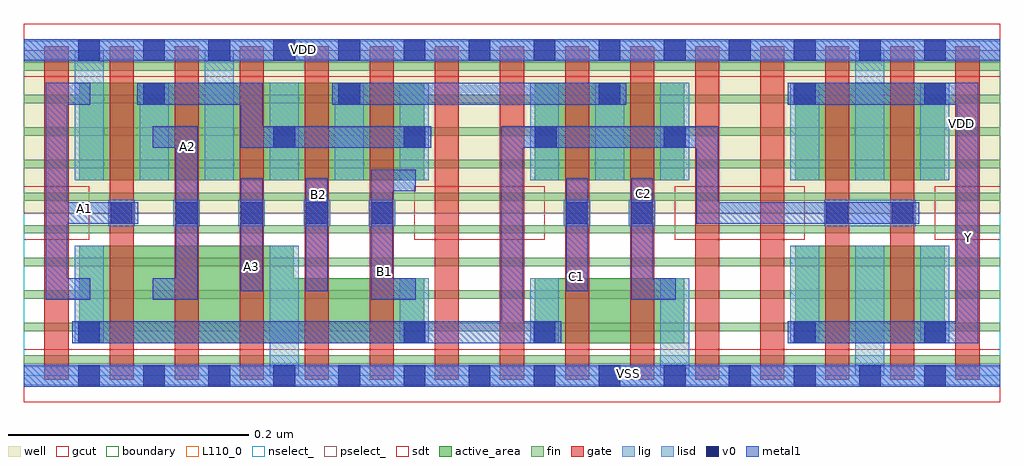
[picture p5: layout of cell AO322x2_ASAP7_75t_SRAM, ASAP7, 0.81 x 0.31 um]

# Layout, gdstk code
import gdstk
lib = gdstk.Library(unit=1e-6, precision=2.5e-10)
def R(c, l, rs):  # rectangles x0, y0, x1, y1
    for r in rs: c.add(gdstk.rectangle(r[:2], r[2:], *l))
def A(c, l, x, y, w, h, nx, ny, dx, dy):  # array of equal rectangles
    R(c, l, [(x+i*dx, y+j*dy, x+i*dx+w, y+j*dy+h) for i in range(nx) for j in range(ny)])
def P(c, l, *ps):  # polygons
    for p in ps: c.add(gdstk.Polygon(p, *l))
well = (1, 0)
fin = (2, 0)
gate = (7, 0)
gcut = (10, 0)
active_area = (11, 0)
nselect_ = (12, 0)
pselect_ = (13, 0)
lig = (16, 0)
lisd = (17, 0)
v0 = (18, 0)
metal1 = (19, 0)
sdt = (88, 0)
boundary = (100, 0)
L110_0 = (110, 0)

ao322x2_asap7_75t_sram = lib.new_cell('AO322x2_ASAP7_75t_SRAM')
R(ao322x2_asap7_75t_sram, well, [(0,0.135,0.81,0.27)])
A(ao322x2_asap7_75t_sram, fin, 0, 0.01, 0.81, 0.007, 1, 10, 0, 0.027)
A(ao322x2_asap7_75t_sram, gate, 0.017, -0.0035, 0.02, 0.277, 15, 1, 0.054, 0)
R(ao322x2_asap7_75t_sram, gcut, [(0,-0.022,0.81,0.022), (0,0.113,0.054,0.157), (0.324,0.113,0.432,0.157), (0.54,0.113,0.648,0.157), (0.756,0.113,0.81,0.157), (0,0.248,0.81,0.292)])
R(ao322x2_asap7_75t_sram, active_area, [(0.424,0.027,0.548,0.081), (0.64,0.027,0.764,0.108), (0.046,0.162,0.332,0.243), (0.424,0.162,0.548,0.243), (0.64,0.162,0.764,0.243)])
P(ao322x2_asap7_75t_sram, active_area, [(0.332,0.081),(0.224,0.081),(0.224,0.108),(0.046,0.108),(0.046,0.027),(0.332,0.027)])
R(ao322x2_asap7_75t_sram, nselect_, [(0,0,0.81,0.135)])
R(ao322x2_asap7_75t_sram, pselect_, [(0,0.135,0.81,0.27)])
A(ao322x2_asap7_75t_sram, lig, 0.07, 0.124, 0.022, 0.022, 5, 1, 0.054, 0)
R(ao322x2_asap7_75t_sram, lig, [(0,-0.008,0.81,0.008), (0.448,0.124,0.47,0.146), (0.502,0.124,0.524,0.146), (0.664,0.124,0.74,0.146), (0,0.262,0.81,0.278)])
A(ao322x2_asap7_75t_sram, lisd, 0.204, 0.162, 0.024, 0.081, 3, 1, 0.054, 0)
A(ao322x2_asap7_75t_sram, lisd, 0.42, 0.162, 0.024, 0.081, 3, 1, 0.054, 0)
R(ao322x2_asap7_75t_sram, lisd, [(0.204,0,0.228,0.108), (0.528,0,0.552,0.081), (0.69,0,0.714,0.108), (0.042,0.027,0.066,0.108), (0.312,0.027,0.336,0.081), (0.42,0.027,0.444,0.081), (0.636,0.027,0.66,0.108), (0.744,0.027,0.768,0.108), (0.042,0.162,0.066,0.27), (0.096,0.162,0.12,0.243), (0.15,0.162,0.174,0.27), (0.636,0.162,0.66,0.243), (0.69,0.162,0.714,0.27), (0.744,0.162,0.768,0.243)])
A(ao322x2_asap7_75t_sram, v0, 0.045, -0.009, 0.018, 0.018, 14, 2, 0.054, 0.27)
A(ao322x2_asap7_75t_sram, v0, 0.072, 0.126, 0.018, 0.018, 5, 1, 0.054, 0)
R(ao322x2_asap7_75t_sram, v0, [(0.045,0.027,0.063,0.045), (0.315,0.027,0.333,0.045), (0.423,0.027,0.441,0.045), (0.639,0.027,0.657,0.045), (0.747,0.027,0.765,0.045), (0.45,0.126,0.468,0.144), (0.504,0.126,0.522,0.144), (0.666,0.126,0.684,0.144), (0.72,0.126,0.738,0.144), (0.207,0.189,0.225,0.207), (0.315,0.189,0.333,0.207), (0.424,0.189,0.442,0.207), (0.531,0.189,0.549,0.207), (0.099,0.225,0.117,0.243), (0.261,0.225,0.279,0.243), (0.477,0.225,0.495,0.243), (0.639,0.225,0.657,0.243), (0.747,0.225,0.765,0.243)])
R(ao322x2_asap7_75t_sram, metal1, [(0,-0.009,0.81,0.009), (0.18,0.07,0.198,0.164), (0.234,0.07,0.252,0.164), (0.45,0.07,0.468,0.164), (0.256,0.225,0.5,0.243), (0,0.261,0.81,0.279)])
P(ao322x2_asap7_75t_sram, metal1, [(0.792,0.243),(0.634,0.243),(0.634,0.225),(0.774,0.225),(0.774,0.045),(0.634,0.045),(0.634,0.027),(0.792,0.027)],
  [(0.743,0.144),(0.576,0.144),(0.576,0.207),(0.396,0.207),(0.396,0.045),(0.04,0.045),(0.04,0.027),(0.446,0.027),(0.446,0.045),(0.414,0.045),(0.414,0.189),(0.558,0.189),(0.558,0.126),(0.743,0.126)],
  [(0.541,0.081),(0.522,0.081),(0.522,0.164),(0.504,0.164),(0.504,0.063),(0.541,0.063)],
  [(0.338,0.207),(0.198,0.207),(0.198,0.243),(0.094,0.243),(0.094,0.225),(0.18,0.225),(0.18,0.189),(0.338,0.189)],
  [(0.325,0.081),(0.306,0.081),(0.306,0.153),(0.325,0.153),(0.325,0.171),(0.288,0.171),(0.288,0.063),(0.325,0.063)],
  [(0.144,0.207),(0.107,0.207),(0.107,0.189),(0.126,0.189),(0.126,0.081),(0.107,0.081),(0.107,0.063),(0.144,0.063)],
  [(0.095,0.144),(0.036,0.144),(0.036,0.225),(0.055,0.225),(0.055,0.243),(0.018,0.243),(0.018,0.063),(0.055,0.063),(0.055,0.081),(0.036,0.081),(0.036,0.126),(0.095,0.126)])
A(ao322x2_asap7_75t_sram, sdt, 0.312, 0.027, 0.024, 0.054, 3, 1, 0.108, 0)
A(ao322x2_asap7_75t_sram, sdt, 0.636, 0.027, 0.024, 0.081, 3, 2, 0.054, 0.135)
A(ao322x2_asap7_75t_sram, sdt, 0.042, 0.162, 0.024, 0.081, 6, 1, 0.054, 0)
A(ao322x2_asap7_75t_sram, sdt, 0.42, 0.162, 0.024, 0.081, 3, 1, 0.054, 0)
R(ao322x2_asap7_75t_sram, sdt, [(0.042,0.027,0.066,0.108), (0.204,0.027,0.228,0.108)])
R(ao322x2_asap7_75t_sram, boundary, [(0,0,0.81,0.27)])
R(ao322x2_asap7_75t_sram, L110_0, [(0,0,0.81,0.27)])
ao322x2_asap7_75t_sram.add(gdstk.Label('VDD', (0.232,0.271), layer=19, texttype=251))
ao322x2_asap7_75t_sram.add(gdstk.Label('B2', (0.2445,0.1505), layer=19, texttype=251))
ao322x2_asap7_75t_sram.add(gdstk.Label('C2', (0.5145,0.1515), layer=19, texttype=251))
ao322x2_asap7_75t_sram.add(gdstk.Label('B1', (0.2995,0.0865), layer=19, texttype=251))
ao322x2_asap7_75t_sram.add(gdstk.Label('A2', (0.1355,0.1905), layer=19, texttype=251))
ao322x2_asap7_75t_sram.add(gdstk.Label('C1', (0.4585,0.0825), layer=19, texttype=251))
ao322x2_asap7_75t_sram.add(gdstk.Label('Y', (0.7835,0.1145), layer=19, texttype=251))
ao322x2_asap7_75t_sram.add(gdstk.Label('A1', (0.0505,0.1385), layer=19, texttype=251))
ao322x2_asap7_75t_sram.add(gdstk.Label('A3', (0.1885,0.0905), layer=19, texttype=251))
ao322x2_asap7_75t_sram.add(gdstk.Label('VSS', (0.502,0.002), layer=19, texttype=251))
ao322x2_asap7_75t_sram.add(gdstk.Label('VSS', (0.847,0.208), layer=3, texttype=251))
ao322x2_asap7_75t_sram.add(gdstk.Label('VDD', (0.778,0.209), layer=1, texttype=251))

lib.write_gds('AO322x2_ASAP7_75t_SRAM.gds')
